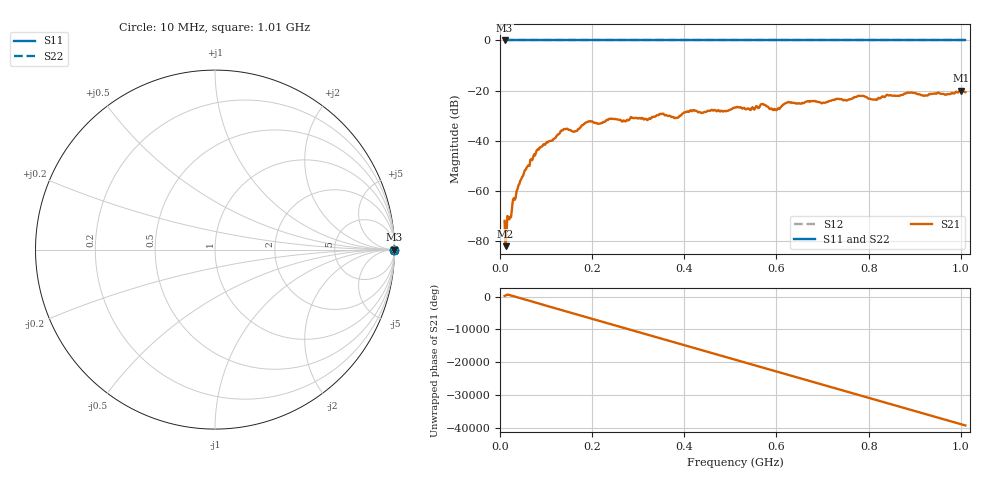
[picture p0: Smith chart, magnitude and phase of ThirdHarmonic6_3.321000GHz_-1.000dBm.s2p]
! 8/17/2025 10:24:28 AM
! C:\ANRITSUVNA\TEMP\TEMP.S2P
! CHANNEL.1
! TR.MEASUREMENT
! RAW.DATA
! RF.CORRECTION.OFF
! AVERAGING.OFF
! IF.BANDWIDTH: 5KHZ
! SWEEPTYPE:  FREQ.SWEEP(Linear)
! Reference Plane Port Info
! PORT:  PORT1  PORT2
! DISTANCE:  0  m  0  m
! TIME:  0  s  0  s
! PHASE.OFFSET:  0  deg.  0  deg.
! LOSS:  0  dB  0  dB
! REF.LOSS:  0  dB  0  dB
! REF.FREQ:  0  Hz  0  Hz
! Power Info
! POWER:  -20  dBm  -20  dBm
! EFF.POWER:  -20  dBm  -20  dBm
! SOURCE.ATTEN:  0  dB  0  dB
! TEST.ATTEN:  0  dB  0  dB
# GHZ S RI R 50.0
! FREQ.GHZ  S11RE  S11IM  S21RE  S21IM  S12RE  S12IM  S22RE  S22IM
!; PortSelection: Port_12
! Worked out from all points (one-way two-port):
!   501 points, 10 MHz to 1.01 GHz, reference 50 ohm
!   highest |S21| = -19.99 dB at 1 GHz (marker M1); lowest = -81.9 dB at 12 MHz (marker M2)
!   lowest |S11| = 0.0 dB at 10 MHz (marker M3)
!   |S11| at or under -10 dB: nowhere
!   |S22| runs from 0.0 to 0.0 dB; largest |S21 - S12| = 1.1
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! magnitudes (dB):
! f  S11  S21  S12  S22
! 10 MHz  0.0  -71.8  0.0  0.0
! 12 MHz  0.0  -81.9  0.0  0.0
! 16 MHz  0.0  -69.9  0.0  0.0
! 44 MHz  0.0  -55.8  0.0  0.0
! 82 MHz  0.0  -43.3  0.0  0.0
! 136 MHz  0.0  -35.8  0.0  0.0
! 162 MHz  0.0  -36.2  0.0  0.0
! 178 MHz  0.0  -33.8  0.0  0.0
! 344 MHz  0.0  -29.7  0.0  0.0
! 382 MHz  0.0  -30.8  0.0  0.0
! 416 MHz  0.0  -28.1  0.0  0.0
! 510 MHz  0.0  -26.7  0.0  0.0
! 548 MHz  0.0  -26.6  0.0  0.0
! 570 MHz  0.0  -25.3  0.0  0.0
! 596 MHz  0.0  -27.2  0.0  0.0
! 624 MHz  0.0  -24.7  0.0  0.0
! 678 MHz  0.0  -24.1  0.0  0.0
! 782 MHz  0.0  -22.1  0.0  0.0
! 814 MHz  0.0  -23.4  0.0  0.0
! 844 MHz  0.0  -21.9  0.0  0.0
! 1 GHz  0.0  -20.0  0.0  0.0
! 1.01 GHz  0.0  -20.6  0.0  0.0
